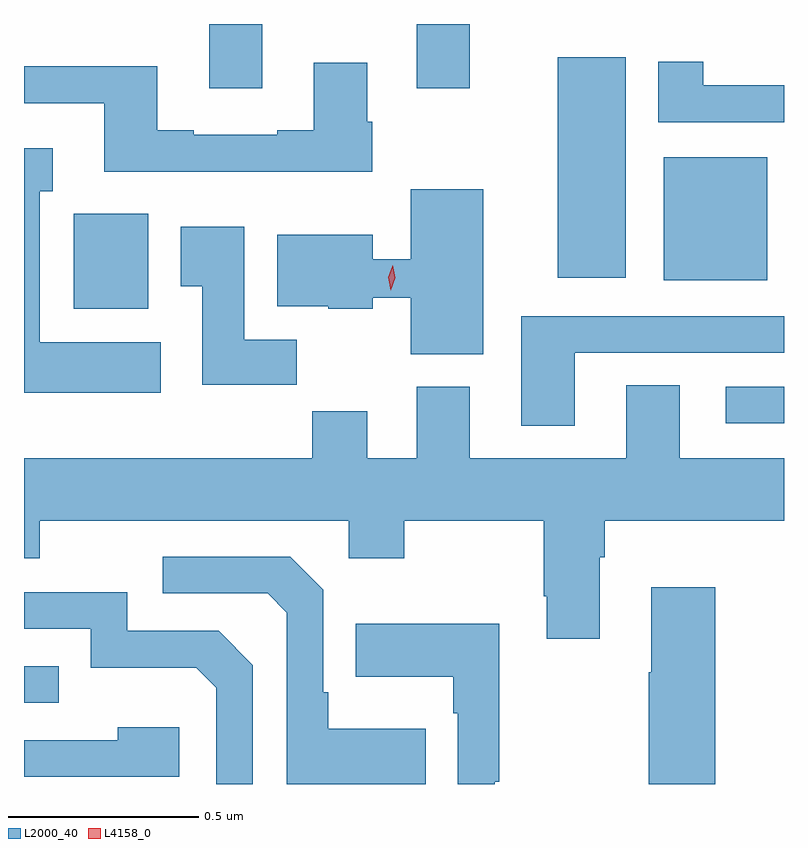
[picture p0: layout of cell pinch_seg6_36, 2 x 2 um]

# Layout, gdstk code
import gdstk
lib = gdstk.Library(unit=1e-6, precision=1e-09)
def R(c, l, rs):  # rectangles x0, y0, x1, y1
    for r in rs: c.add(gdstk.rectangle(r[:2], r[2:], *l))
def P(c, l, *ps):  # polygons
    for p in ps: c.add(gdstk.Polygon(p, *l))
L2000_40 = (2000, 40)
L4158_0 = (4158, 0)

pinch_seg6_36 = lib.new_cell('pinch_seg6_36')
R(pinch_seg6_36, L2000_40, [(926.026,957.513,926.117,957.609), (927.873,958.248,928.026,958.344), (926.157,958.55,926.353,958.8), (927.71,958.625,927.982,958.948), (927.431,958.631,927.61,959.212), (926.513,959.13,926.653,959.299), (927.059,959.13,927.199,959.299)])
P(pinch_seg6_36, L2000_40, [(928.026,959.138),(927.813,959.138),(927.813,959.2),(927.695,959.2),(927.695,959.04),(928.026,959.04)],
  [(926.942,959.042),(926.929,959.042),(926.929,959.197),(926.789,959.197),(926.789,959.02),(926.693,959.02),(926.693,959.007),(926.473,959.007),(926.473,959.02),(926.377,959.02),(926.377,959.188),(926.026,959.188),(926.026,959.091),(926.237,959.091),(926.237,958.91),(926.942,958.91)],
  [(926.386,958.462),(926.068,958.462),(926.068,958.859),(926.101,958.859),(926.101,958.972),(926.026,958.972),(926.026,958.328),(926.386,958.328)],
  [(927.235,958.864),(927.044,958.864),(927.044,958.68),(926.944,958.68),(926.944,958.744),(926.693,958.744),(926.693,958.556),(926.826,958.556),(926.826,958.55),(926.944,958.55),(926.944,958.579),(927.044,958.579),(927.044,958.43),(927.235,958.43)],
  [(926.744,958.468),(926.605,958.468),(926.605,958.765),(926.438,958.765),(926.438,958.609),(926.495,958.609),(926.495,958.35),(926.744,958.35)],
  [(927.475,958.434),(928.026,958.434),(928.026,958.53),(927.335,958.53),(927.335,958.242),(927.475,958.242)],
  [(927.541,957.896),(927.554,957.896),(927.554,957.992),(928.026,957.992),(928.026,958.156),(927.751,958.156),(927.751,958.349),(927.611,958.349),(927.611,958.156),(927.199,958.156),(927.199,958.345),(927.059,958.345),(927.059,958.156),(926.929,958.156),(926.929,958.28),(926.785,958.28),(926.785,958.156),(926.026,958.156),(926.026,957.893),(926.067,957.893),(926.067,957.992),(926.88,957.992),(926.88,957.893),(927.027,957.893),(927.027,957.992),(927.394,957.992),(927.394,957.793),(927.401,957.793),(927.401,957.681),(927.541,957.681)],
  [(927.083,957.445),(926.827,957.445),(926.827,957.541),(926.814,957.541),(926.814,957.81),(926.727,957.897),(926.391,957.897),(926.391,957.801),(926.667,957.801),(926.718,957.75),(926.718,957.299),(927.083,957.299)],
  [(927.845,957.817),(927.677,957.817),(927.677,957.593),(927.67,957.593),(927.67,957.299),(927.845,957.299)],
  [(926.628,957.612),(926.538,957.702),(926.298,957.702),(926.298,957.804),(926.026,957.804),(926.026,957.708),(926.202,957.708),(926.202,957.605),(926.479,957.605),(926.532,957.552),(926.532,957.299),(926.628,957.299)],
  [(927.265,957.305),(927.277,957.305),(927.277,957.721),(926.899,957.721),(926.899,957.581),(927.156,957.581),(927.156,957.485),(927.168,957.485),(927.168,957.299),(927.265,957.299)],
  [(926.434,957.448),(926.273,957.448),(926.273,957.414),(926.026,957.414),(926.026,957.318),(926.434,957.318)])
P(pinch_seg6_36, L4158_0, [(926.991,958.599),(926.991,958.599),(926.984,958.632),(926.996,958.664),(926.996,958.664),(926.996,958.664),(927.003,958.631),(926.991,958.599)])

lib.write_gds('pinch_seg6_36.gds')
